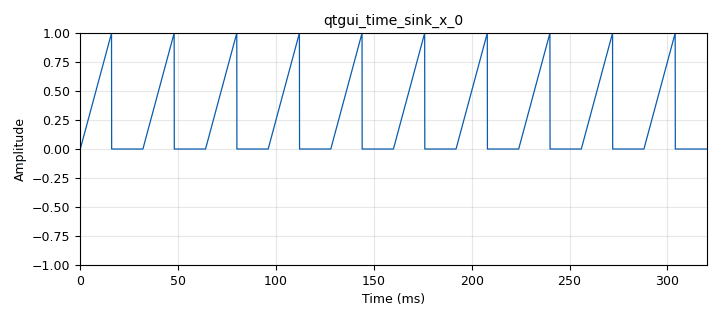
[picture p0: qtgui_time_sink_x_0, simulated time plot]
options:
  parameters:
    generate_options: qt_gui
    id: sinal_mensagem_vec
    output_language: python
    title: Sinais mensagem
  states: {}

blocks:
- name: pulse_len
  id: variable
  parameters:
    value: '512'
  states: {}
- name: samp_rate
  id: variable
  parameters:
    value: '32000'
  states: {}
- name: vec_len
  id: variable
  parameters:
    value: int(1024)
  states: {}
- name: analog_const_source_x_0
  id: analog_const_source_x
  parameters:
    const: pulse_len
    type: float
  states: {}
- name: blocks_divide_xx_0
  id: blocks_divide_xx
  parameters:
    type: float
  states: {}
- name: blocks_throttle_0
  id: blocks_throttle
  parameters:
    samples_per_second: samp_rate
    type: float
  states: {}
- name: blocks_vector_source_x_0
  id: blocks_vector_source_x
  parameters:
    repeat: 'True'
    type: float
    vector: list(range(pulse_len))  +   [0]*(vec_len - pulse_len)
  states: {}
- name: qtgui_time_sink_x_0
  id: qtgui_time_sink_x
  parameters:
    size: 10*vec_len
    srate: samp_rate
    type: float
  states: {}

connections:
- [analog_const_source_x_0, '0', blocks_divide_xx_0, '1']
- [blocks_divide_xx_0, '0', qtgui_time_sink_x_0, '0']
- [blocks_throttle_0, '0', blocks_divide_xx_0, '0']
- [blocks_vector_source_x_0, '0', blocks_throttle_0, '0']

metadata:
  file_format: 1
